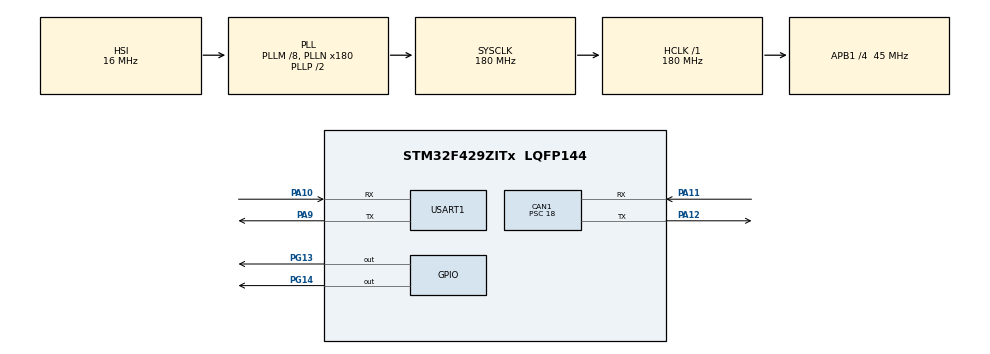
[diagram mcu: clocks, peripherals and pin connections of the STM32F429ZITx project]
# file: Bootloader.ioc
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CAN1.BS1=CAN_BS1_2TQ
CAN1.BS2=CAN_BS2_2TQ
CAN1.CalculateBaudRate=500000
CAN1.CalculateTimeBit=2000
CAN1.CalculateTimeQuantum=400.0
CAN1.Prescaler=18
Mcu.Family=STM32F4
Mcu.Name=STM32F429ZITx
Mcu.Package=LQFP144
NVIC.PriorityGroup=NVIC_PRIORITYGROUP_4
PA10.Mode=Asynchronous
PA10.Signal=USART1_RX
PA11.Mode=CAN_Activate
PA11.Signal=CAN1_RX
PA12.Mode=CAN_Activate
PA12.Signal=CAN1_TX
PA9.Mode=Asynchronous
PA9.Signal=USART1_TX
PG13.Signal=GPIO_Output
PG14.Signal=GPIO_Output
ProjectManager.HeapSize=0x200
ProjectManager.StackSize=0x400
ProjectManager.TargetToolchain=STM32CubeIDE
RCC.48MHZClocksFreq_Value=90000000
RCC.AHBFreq_Value=180000000
RCC.APB1CLKDivider=RCC_HCLK_DIV4
RCC.APB1Freq_Value=45000000
RCC.APB1TimFreq_Value=90000000
RCC.APB2CLKDivider=RCC_HCLK_DIV2
RCC.APB2Freq_Value=90000000
RCC.APB2TimFreq_Value=180000000
RCC.CortexFreq_Value=180000000
RCC.HCLKFreq_Value=180000000
RCC.HSE_VALUE=25000000
RCC.HSI_VALUE=16000000
RCC.LSE_VALUE=32768
RCC.PLLM=8
RCC.PLLN=180
RCC.SYSCLKFreq_VALUE=180000000
RCC.SYSCLKSource=RCC_SYSCLKSOURCE_PLLCLK
RCC.VCOOutputFreq_Value=360000000
USART1.VirtualMode=VM_ASYNC
VP_RTC_VS_RTC_Activate.Mode=RTC_Enabled
board=custom

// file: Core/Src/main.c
/* USER CODE BEGIN Header */
/**
 ******************************************************************************
 * @file           : main.c
 * @brief          : Main program body
 ******************************************************************************
 * @attention
 *
 * Copyright (c) 2023 STMicroelectronics.
 * All rights reserved.
 *
 * This software is licensed under terms that can be found in the LICENSE file
 * in the root directory of this software component.
 * If no LICENSE file comes with this software, it is provided AS-IS.
 *
 ******************************************************************************
 */
/* USER CODE END Header */
#include "main.h"

/* USER CODE BEGIN Includes */
#include <stdio.h>

CAN_HandleTypeDef hcan1;

RTC_HandleTypeDef hrtc;

UART_HandleTypeDef huart1;

/* USER CODE BEGIN PV */

CAN_RxHeaderTypeDef RxHeader;
CAN_TxHeaderTypeDef TxHeader;
uint32_t TxMailbox;
uint8_t RxData[8];
uint8_t TxData[8];

/* USER CODE END PV */

void SystemClock_Config(void);
static void MX_GPIO_Init(void);
static void MX_USART1_UART_Init(void);
static void MX_CAN1_Init(void);
static void MX_RTC_Init(void);
/* USER CODE BEGIN PFP */

int main(void) {

	/* Reset of all peripherals, Initializes the Flash interface and the Systick. */
	HAL_Init();

	/* Configure the system clock */
	SystemClock_Config();

	/* Initialize all configured peripherals */
	MX_GPIO_Init();
	MX_USART1_UART_Init();
	MX_CAN1_Init();
	MX_RTC_Init();
	/* USER CODE BEGIN 2 */
	HAL_CAN_Start(&hcan1);
	/* USER CODE BEGIN WHILE */
	while (1) {

while (HAL_CAN_GetRxFifoFillLevel(&hcan1, CAN_RX_FIFO0) == 0) {};
HAL_CAN_GetRxMessage(&hcan1, CAN_RX_FIFO0, &RxHeader, RxData);
}

void SystemClock_Config(void) {
	RCC_OscInitTypeDef RCC_OscInitStruct = { 0 };
	RCC_ClkInitTypeDef RCC_ClkInitStruct = { 0 };

	/** Configure the main internal regulator output voltage
	 */
	__HAL_RCC_PWR_CLK_ENABLE();
	__HAL_PWR_VOLTAGESCALING_CONFIG(PWR_REGULATOR_VOLTAGE_SCALE1);

	/** Initializes the RCC Oscillators according to the specified parameters
	 * in the RCC_OscInitTypeDef structure.
	 */
	RCC_OscInitStruct.OscillatorType = RCC_OSCILLATORTYPE_HSI
			| RCC_OSCILLATORTYPE_LSI;
	RCC_OscInitStruct.HSIState = RCC_HSI_ON;
	RCC_OscInitStruct.HSICalibrationValue = RCC_HSICALIBRATION_DEFAULT;
	RCC_OscInitStruct.LSIState = RCC_LSI_ON;
	RCC_OscInitStruct.PLL.PLLState = RCC_PLL_ON;
	RCC_OscInitStruct.PLL.PLLSource = RCC_PLLSOURCE_HSI;
	RCC_OscInitStruct.PLL.PLLM = 8;
	RCC_OscInitStruct.PLL.PLLN = 180;
	RCC_OscInitStruct.PLL.PLLP = RCC_PLLP_DIV2;
	RCC_OscInitStruct.PLL.PLLQ = 4;
	if (HAL_RCC_OscConfig(&RCC_OscInitStruct) != HAL_OK) {
		Error_Handler();
	}

	/** Activate the Over-Drive mode
	 */
	if (HAL_PWREx_EnableOverDrive() != HAL_OK) {
		Error_Handler();
	}

	/** Initializes the CPU, AHB and APB buses clocks
	 */
	RCC_ClkInitStruct.ClockType = RCC_CLOCKTYPE_HCLK | RCC_CLOCKTYPE_SYSCLK
			| RCC_CLOCKTYPE_PCLK1 | RCC_CLOCKTYPE_PCLK2;
	RCC_ClkInitStruct.SYSCLKSource = RCC_SYSCLKSOURCE_PLLCLK;
	RCC_ClkInitStruct.AHBCLKDivider = RCC_SYSCLK_DIV1;
	RCC_ClkInitStruct.APB1CLKDivider = RCC_HCLK_DIV4;
	RCC_ClkInitStruct.APB2CLKDivider = RCC............................................._HCLK_DIV2;

	if (HAL_RCC_ClockConfig(&RCC_ClkInitStruct, FLASH_LATENCY_5) != HAL_OK) {
		Error_Handler();
	}
}

static void MX_CAN1_Init(void) {

	hcan1.Instance = CAN1;
	hcan1.Init.Prescaler = 18;
	hcan1.Init.Mode = CAN_MODE_NORMAL;
	hcan1.Init.SyncJumpWidth = CAN_SJW_1TQ;
	hcan1.Init.TimeSeg1 = CAN_BS1_2TQ;
	hcan1.Init.TimeSeg2 = CAN_BS2_2TQ;
	hcan1.Init.TimeTriggeredMode = DISABLE;
	hcan1.Init.AutoBusOff = DISABLE;
	hcan1.Init.AutoWakeUp = DISABLE;
	hcan1.Init.AutoRetransmission = DISABLE;
	hcan1.Init.ReceiveFifoLocked = DISABLE;
	hcan1.Init.TransmitFifoPriority = DISABLE;
	if (HAL_CAN_Init(&hcan1) != HAL_OK) {
		Error_Handler();
	}
	/* USER CODE BEGIN CAN1_Init 2 */

	CAN_FilterTypeDef canfilterconfig;

	canfilterconfig.FilterActivation = CAN_FILTER_ENABLE;
	canfilterconfig.FilterBank = 18;
	canfilterconfig.FilterFIFOAssignment = CAN_RX_FIFO0;
	canfilterconfig.FilterIdHigh = 0;
	canfilterconfig.FilterIdLow = 0x0000;
	canfilterconfig.FilterMaskIdHigh = 0x0000;
	canfilterconfig.FilterMaskIdLow = 0x0000;
	canfilterconfig.FilterMode = CAN_FILTERMODE_IDMASK;
	canfilterconfig.FilterScale = CAN_FILTERSCALE_32BIT;
	canfilterconfig.SlaveStartFilterBank = 20;

	HAL_CAN_ConfigFilter(&hcan1, &canfilterconfig);

	/* USER CODE END CAN1_Init 2 */

}

static void MX_RTC_Init(void) {

	/** Initialize RTC Only
	 */
	hrtc.Instance = RTC;
	hrtc.Init.HourFormat = RTC_HOURFORMAT_24;
	hrtc.Init.AsynchPrediv = 127;
	hrtc.Init.SynchPrediv = 255;
	hrtc.Init.OutPut = RTC_OUTPUT_DISABLE;
	hrtc.Init.OutPutPolarity = RTC_OUTPUT_POLARITY_HIGH;
	hrtc.Init.OutPutType = RTC_OUTPUT_TYPE_OPENDRAIN;
	if (HAL_RTC_Init(&hrtc) != HAL_OK) {
		Error_Handler();
	}

}

static void MX_USART1_UART_Init(void) {

	huart1.Instance = USART1;
	huart1.Init.BaudRate = 115200;
	huart1.Init.WordLength = UART_WORDLENGTH_8B;
	huart1.Init.StopBits = UART_STOPBITS_1;
	huart1.Init.Parity = UART_PARITY_NONE;
	huart1.Init.Mode = UART_MODE_TX_RX;
	huart1.Init.HwFlowCtl = UART_HWCONTROL_NONE;
	huart1.Init.OverSampling = UART_OVERSAMPLING_16;
	if (HAL_UART_Init(&huart1) != HAL_OK) {
		Error_Handler();
	}

}

static void MX_GPIO_Init(void) {
	GPIO_InitTypeDef GPIO_InitStruct = { 0 };

	/* GPIO Ports Clock Enable */
	__HAL_RCC_GPIOA_CLK_ENABLE();
	__HAL_RCC_GPIOG_CLK_ENABLE();

	/*Configure GPIO pin Output Level */
	HAL_GPIO_WritePin(GPIOG, GPIO_PIN_13 | GPIO_PIN_14, GPIO_PIN_RESET);

	/*Configure GPIO pins : PG13 PG14 */
	GPIO_InitStruct.Pin = GPIO_PIN_13 | GPIO_PIN_14;
	GPIO_InitStruct.Mode = GPIO_MODE_OUTPUT_PP;
	GPIO_InitStruct.Pull = GPIO_NOPULL;
	GPIO_InitStruct.Speed = GPIO_SPEED_FREQ_LOW;
	HAL_GPIO_Init(GPIOG, &GPIO_InitStruct);

}

/* USER CODE BEGIN 4 */
/**
 * @brief Print the characters to UART (printf).
 * @retval int
 */
#ifdef __GNUC__
/* With GCC, small printf (option LD Linker->Libraries->Small printf
 set to 'Yes') calls __io_putchar() */
int __io_putchar(int ch)
#else
int fputc(int ch, FILE *f)
#endif /* __GNUC__ */
{
	/* Place your implementation of fputc here */
	/* e.g. write a character to the UART1 and Loop until the end of transmission */
	HAL_UART_Transmit(&huart1, (uint8_t*) &ch, 1, HAL_MAX_DELAY);
	return ch;
}

void goto_application(void) {
	printf("Gonna Jump to Application\r\n");

	void (*app_reset_handler)(
			void) = (void*) (*(volatile uint32_t *) (0x08020000 + 4));

	//__set_MSP( ( *(volatile uint32_t *) 0x08020000) );

	HAL_GPIO_WritePin( GPIOG, GPIO_PIN_13, GPIO_PIN_RESET);  // Green LED OFF

	app_reset_handler();  //call the app reset handler

}

/* USER CODE END 4 */

void Error_Handler(void) {
	__disable_irq();
	while (1) {
	}
}
